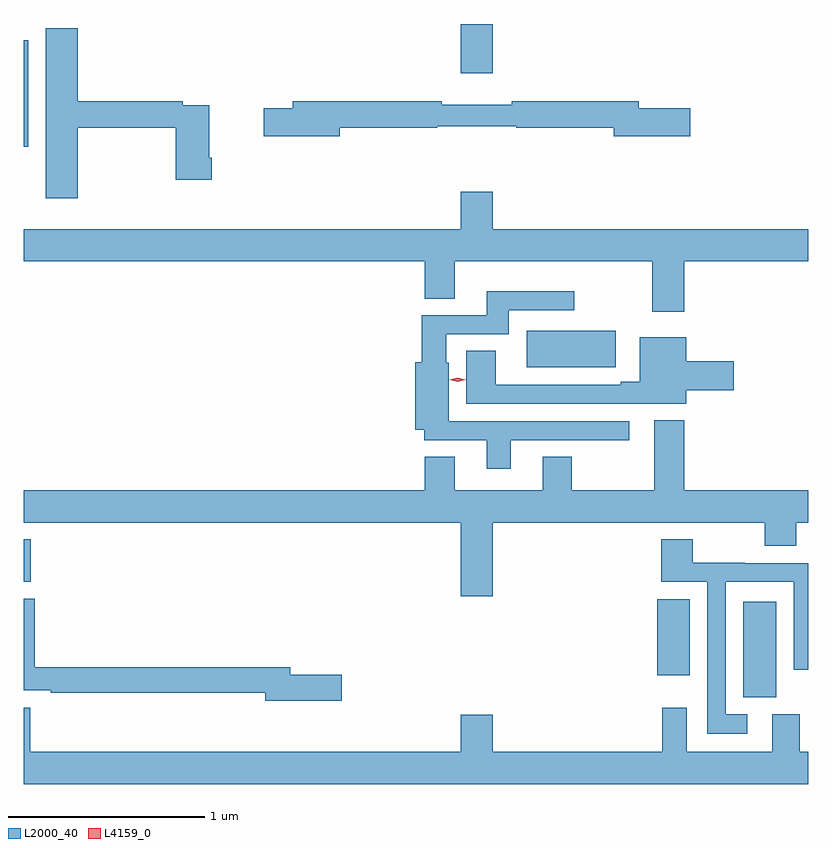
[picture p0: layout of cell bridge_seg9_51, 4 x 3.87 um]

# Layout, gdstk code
import gdstk
lib = gdstk.Library(unit=1e-6, precision=1e-09)
def R(c, l, rs):  # rectangles x0, y0, x1, y1
    for r in rs: c.add(gdstk.rectangle(r[:2], r[2:], *l))
def P(c, l, *ps):  # polygons
    for p in ps: c.add(gdstk.Polygon(p, *l))
L2000_40 = (2000, 40)
L4159_0 = (4159, 0)

bridge_seg9_51 = lib.new_cell('bridge_seg9_51')
R(bridge_seg9_51, L2000_40, [(1065.548,1182.209,1065.715,1182.697), (1065.11,1182.323,1065.274,1182.709), (1061.88,1182.798,1061.918,1183.015), (1061.88,1185.015,1061.904,1185.558), (1064.108,1185.39,1064.272,1185.641)])
P(bridge_seg9_51, L2000_40, [(1062.155,1185.112),(1062.656,1185.112),(1062.656,1184.847),(1062.839,1184.847),(1062.839,1184.959),(1062.826,1184.959),(1062.826,1185.228),(1062.692,1185.228),(1062.692,1185.248),(1062.155,1185.248),(1062.155,1185.619),(1061.993,1185.619),(1061.993,1184.754),(1062.155,1184.754)],
  [(1063.492,1185.112),(1063.988,1185.112),(1063.988,1185.12),(1064.392,1185.12),(1064.392,1185.112),(1064.888,1185.112),(1064.888,1185.07),(1065.277,1185.07),(1065.277,1185.212),(1065.016,1185.212),(1065.016,1185.248),(1064.368,1185.248),(1064.368,1185.229),(1064.012,1185.229),(1064.012,1185.248),(1063.253,1185.248),(1063.253,1185.212),(1063.104,1185.212),(1063.104,1185.07),(1063.492,1185.07)],
  [(1065.248,1184.432),(1065.88,1184.432),(1065.88,1184.596),(1064.272,1184.596),(1064.272,1184.785),(1064.108,1184.785),(1064.108,1184.596),(1061.88,1184.596),(1061.88,1184.432),(1063.925,1184.432),(1063.925,1184.242),(1064.077,1184.242),(1064.077,1184.432),(1065.083,1184.432),(1065.083,1184.175),(1065.248,1184.175)],
  [(1064.362,1183.521),(1064.968,1183.521),(1064.968,1183.617),(1064.047,1183.617),(1064.047,1183.914),(1064.035,1183.914),(1064.035,1184.061),(1064.353,1184.061),(1064.353,1184.181),(1064.686,1184.181),(1064.686,1184.278),(1064.24,1184.278),(1064.24,1184.157),(1063.91,1184.157),(1063.91,1183.918),(1063.877,1183.918),(1063.877,1183.574),(1063.922,1183.574),(1063.922,1183.521),(1064.24,1183.521),(1064.24,1183.374),(1064.362,1183.374)],
  [(1064.795,1183.893),(1064.898,1183.893),(1064.898,1184.077),(1064.444,1184.077),(1064.444,1183.892),(1064.795,1183.892)],
  [(1065.256,1183.775),(1065.499,1183.775),(1065.499,1183.922),(1065.256,1183.922),(1065.256,1184.044),(1065.02,1184.044),(1065.02,1183.817),(1064.924,1183.817),(1064.924,1183.803),(1064.287,1183.803),(1064.287,1183.975),(1064.135,1183.975),(1064.135,1183.707),(1065.256,1183.707)],
  [(1064.272,1183.1),(1065.658,1183.1),(1065.658,1182.983),(1065.818,1182.983),(1065.818,1183.1),(1065.88,1183.1),(1065.88,1183.264),(1065.248,1183.264),(1065.248,1183.621),(1065.095,1183.621),(1065.095,1183.264),(1064.673,1183.264),(1064.673,1183.436),(1064.525,1183.436),(1064.525,1183.264),(1064.077,1183.264),(1064.077,1183.436),(1063.925,1183.436),(1063.925,1183.264),(1061.88,1183.264),(1061.88,1183.1),(1064.108,1183.1),(1064.108,1182.726),(1064.272,1182.726)],
  [(1065.568,1182.124),(1065.459,1182.124),(1065.459,1182.798),(1065.804,1182.798),(1065.804,1182.351),(1065.88,1182.351),(1065.88,1182.894),(1065.556,1182.894),(1065.556,1182.896),(1065.291,1182.896),(1065.291,1183.015),(1065.131,1183.015),(1065.131,1182.798),(1065.363,1182.798),(1065.363,1182.023),(1065.568,1182.023)],
  [(1063.501,1182.326),(1063.24,1182.326),(1063.24,1182.362),(1061.936,1182.362),(1061.936,1182.713),(1061.88,1182.713),(1061.88,1182.246),(1062.019,1182.246),(1062.019,1182.234),(1063.112,1182.234),(1063.112,1182.191),(1063.501,1182.191)],
  [(1065.88,1181.932),(1065.835,1181.932),(1065.835,1182.124),(1065.695,1182.124),(1065.695,1181.932),(1065.259,1181.932),(1065.259,1182.157),(1065.134,1182.157),(1065.134,1181.932),(1064.272,1181.932),(1064.272,1182.121),(1064.108,1182.121),(1064.108,1181.932),(1061.915,1181.932),(1061.915,1182.157),(1061.88,1182.157),(1061.88,1181.768),(1065.88,1181.768)])
P(bridge_seg9_51, L4159_0, [(1064.092,1183.818),(1064.052,1183.828),(1064.051,1183.828),(1064.052,1183.828),(1064.092,1183.838),(1064.132,1183.828),(1064.133,1183.828),(1064.132,1183.828)])

lib.write_gds('bridge_seg9_51.gds')
